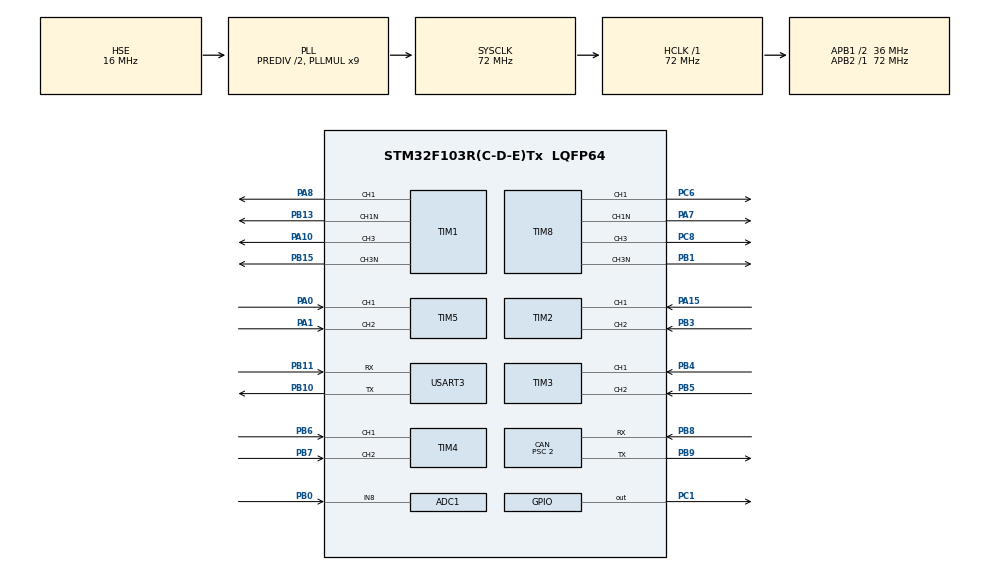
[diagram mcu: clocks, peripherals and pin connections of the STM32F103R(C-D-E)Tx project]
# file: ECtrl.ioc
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ADC1.Channel-0\#ChannelRegularConversion=ADC_CHANNEL_8
ADC1.NbrOfConversionFlag=1
ADC1.Rank-0\#ChannelRegularConversion=1
ADC1.SamplingTime-0\#ChannelRegularConversion=ADC_SAMPLETIME_1CYCLE_5
ADC1.master=1
CAN.BS1=CAN_BS1_15TQ
CAN.BS2=CAN_BS2_2TQ
CAN.CalculateBaudRate=1000000
CAN.CalculateTimeBit=1000
CAN.CalculateTimeQuantum=55.55555555555556
CAN.Prescaler=2
Mcu.Family=STM32F1
Mcu.Name=STM32F103R(C-D-E)Tx
Mcu.Package=LQFP64
NVIC.PriorityGroup=NVIC_PRIORITYGROUP_4
NVIC.TIM6_IRQn=true\:15\:0\:false\:false\:true\:false\:true\:true
NVIC.TimeBase=TIM6_IRQn
NVIC.TimeBaseIP=TIM6
NVIC.USB_LP_CAN1_RX0_IRQn=true\:0\:0\:false\:false\:true\:true\:true\:true
PA0-WKUP.Signal=S_TIM5_CH1
PA1.Signal=S_TIM5_CH2
PA10.Signal=S_TIM1_CH3
PA13.Mode=Serial_Wire
PA13.Signal=SYS_JTMS-SWDIO
PA14.Mode=Serial_Wire
PA14.Signal=SYS_JTCK-SWCLK
PA15.Signal=S_TIM2_CH1_ETR
PA7.Mode=PWM Generation1 CH1 CH1N
PA7.Signal=TIM8_CH1N
PA8.Signal=S_TIM1_CH1
PB0.Signal=ADCx_IN8
PB1.Mode=PWM Generation3 CH3 CH3N
PB1.Signal=TIM8_CH3N
PB10.Mode=Asynchronous
PB10.Signal=USART3_TX
PB11.Mode=Asynchronous
PB11.Signal=USART3_RX
PB13.Mode=PWM Generation1 CH1 CH1N
PB13.Signal=TIM1_CH1N
PB15.Mode=PWM Generation3 CH3 CH3N
PB15.Signal=TIM1_CH3N
PB3.Signal=S_TIM2_CH2
PB4.Signal=S_TIM3_CH1
PB5.Signal=S_TIM3_CH2
PB6.Signal=S_TIM4_CH1
PB7.Signal=S_TIM4_CH2
PB8.Mode=CAN_Activate
PB8.Signal=CAN_RX
PB9.Mode=CAN_Activate
PB9.Signal=CAN_TX
PC1.GPIO_ModeDefaultOutputPP=GPIO_MODE_OUTPUT_OD
PC1.GPIO_PuPd=GPIO_NOPULL
PC1.Signal=GPIO_Output
PC6.Signal=S_TIM8_CH1
PC8.Signal=S_TIM8_CH3
PD0-OSC_IN.Mode=HSE-External-Oscillator
PD0-OSC_IN.Signal=RCC_OSC_IN
PD1-OSC_OUT.Mode=HSE-External-Oscillator
PD1-OSC_OUT.Signal=RCC_OSC_OUT
ProjectManager.HeapSize=0x200
ProjectManager.StackSize=0x400
ProjectManager.TargetToolchain=CMake
RCC.ADCPresc=RCC_ADCPCLK2_DIV6
RCC.AHBFreq_Value=72000000
RCC.APB1CLKDivider=RCC_HCLK_DIV2
RCC.APB1Freq_Value=36000000
RCC.APB1TimFreq_Value=72000000
RCC.APB2Freq_Value=72000000
RCC.APB2TimFreq_Value=72000000
RCC.HCLKFreq_Value=72000000
RCC.HSEDivPLL=RCC_HSE_PREDIV_DIV2
RCC.HSE_VALUE=16000000
RCC.PLLMUL=RCC_PLL_MUL9
RCC.PLLSourceVirtual=RCC_PLLSOURCE_HSE
RCC.SYSCLKFreq_VALUE=72000000
RCC.SYSCLKSource=RCC_SYSCLKSOURCE_PLLCLK
RCC.USBFreq_Value=72000000
SH.ADCx_IN8.0=ADC1_IN8,IN8
SH.S_TIM1_CH1.0=TIM1_CH1,PWM Generation1 CH1 CH1N
SH.S_TIM1_CH3.0=TIM1_CH3,PWM Generation3 CH3 CH3N
SH.S_TIM2_CH1_ETR.0=TIM2_CH1,Encoder_Interface
SH.S_TIM2_CH2.0=TIM2_CH2,Encoder_Interface
SH.S_TIM3_CH1.0=TIM3_CH1,Encoder_Interface
SH.S_TIM3_CH2.0=TIM3_CH2,Encoder_Interface
SH.S_TIM4_CH1.0=TIM4_CH1,Encoder_Interface
SH.S_TIM4_CH2.0=TIM4_CH2,Encoder_Interface
SH.S_TIM5_CH1.0=TIM5_CH1,Encoder_Interface
SH.S_TIM5_CH2.0=TIM5_CH2,Encoder_Interface
SH.S_TIM8_CH1.0=TIM8_CH1,PWM Generation1 CH1 CH1N
SH.S_TIM8_CH3.0=TIM8_CH3,PWM Generation3 CH3 CH3N
TIM1.Channel-PWM\ Generation1\ CH1\ CH1N=TIM_CHANNEL_1
TIM1.Channel-PWM\ Generation3\ CH3\ CH3N=TIM_CHANNEL_3
TIM8.Channel-PWM\ Generation1\ CH1\ CH1N=TIM_CHANNEL_1
TIM8.Channel-PWM\ Generation3\ CH3\ CH3N=TIM_CHANNEL_3
USART3.VirtualMode=VM_ASYNC
VP_CRC_VS_CRC.Mode=CRC_Activate
VP_SYS_VS_tim6.Mode=TIM6
board=custom

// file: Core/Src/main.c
/* USER CODE BEGIN Header */
/**
 ******************************************************************************
 * @file           : main.c
 * @brief          : Main program body
 ******************************************************************************
 * @attention
 *
 * Copyright (c) 2024 STMicroelectronics.
 * All rights reserved.
 *
 * This software is licensed under terms that can be found in the LICENSE file
 * in the root directory of this software component.
 * If no LICENSE file comes with this software, it is provided AS-IS.
 *
 ******************************************************************************
 */
/* USER CODE END Header */
#include "main.h"

/* USER CODE BEGIN Includes */
#include "FreeRTOS.h"
#include "stdio.h"
#include "string.h"
#include "queue.h"
#include "task.h"
#include "TaskCanManage.h"
#include "TaskStateManage.h"
#include "TaskActuator.h"
#include "TaskADCManage.h"
/* USER CODE END Includes */

ADC_HandleTypeDef hadc1;

CAN_HandleTypeDef hcan;

CRC_HandleTypeDef hcrc;

TIM_HandleTypeDef htim1;
TIM_HandleTypeDef htim2;
TIM_HandleTypeDef htim3;
TIM_HandleTypeDef htim4;
TIM_HandleTypeDef htim5;
TIM_HandleTypeDef htim8;

UART_HandleTypeDef huart3;

TaskHandle_t vMotorControlFunctionHandle;
TaskHandle_t vCanManageTaskFunctionHandle;
TaskHandle_t vStoreManageFunctionHandle;
TaskHandle_t vADCManageFunctionHandle;

void SystemClock_Config(void);
static void MX_GPIO_Init(void);
static void MX_ADC1_Init(void);
static void MX_CAN_Init(void);
static void MX_TIM1_Init(void);
static void MX_TIM2_Init(void);
static void MX_TIM3_Init(void);
static void MX_TIM4_Init(void);
static void MX_TIM5_Init(void);
static void MX_TIM8_Init(void);
static void MX_USART3_UART_Init(void);
static void MX_CRC_Init(void);

/* USER CODE BEGIN 0 */
void vApplicationStackOverflowHook(TaskHandle_t xTask,
								   char *pcTaskName)
{
  (void) xTask;
	__disable_irq();
	HAL_UART_Transmit(&huart3, (uint8_t *)"[Error] Stack Overflow\r\nIn Task ", 33, 1000);
	HAL_UART_Transmit(&huart3, (uint8_t *)pcTaskName, strlen(pcTaskName), 1000);
	while (1)
	{
	}
}

void vApplicationMallocFailedHook()
{
	__disable_irq();
	HAL_UART_Transmit(&huart3, (uint8_t *)"[Error] malloc() failed\r\n", 26, 1000);
	while (1)
	{
	}
}

struct OutputBuffer_t {
  uint16_t head, tail;
  uint8_t data[256];
  uint8_t isTransmitting;
};

struct OutputBuffer_t outputBuffer;

int __io_putchar(int ch)
{
  uint16_t nextTail = (outputBuffer.tail + 1) % 256;
  if (nextTail == outputBuffer.head) {
    // queue is full, throw away ch
    return -1;
  }
  else {
    outputBuffer.data[outputBuffer.tail] = ch;
    outputBuffer.tail = nextTail;
    if (!outputBuffer.isTransmitting) {
      // not transmitting, initiating transfer
      outputBuffer.isTransmitting = 1;
      HAL_UART_Transmit_IT(&huart3, outputBuffer.data+outputBuffer.head, 1);
    }
  }
  return 0;
}

void HAL_UART_TxCpltCallback(UART_HandleTypeDef *huart) {
  if (huart->Instance == USART3) {
    outputBuffer.head = (outputBuffer.head + 1) % 256;
    if (outputBuffer.tail == outputBuffer.head) {
      // queue is empty, stop transmitting
      outputBuffer.isTransmitting = 0;
    }
    else {
      HAL_UART_Transmit_IT(&huart3, outputBuffer.data + outputBuffer.head, 1);

    }
  }
}

/* USER CODE END 0 */

int main(void)
{

  /* MCU Configuration--------------------------------------------------------*/

  /* Reset of all peripherals, Initializes the Flash interface and the Systick. */
  HAL_Init();

  /* Configure the system clock */
  SystemClock_Config();

  /* Initialize all configured peripherals */
  MX_GPIO_Init();
  MX_ADC1_Init();
  MX_CAN_Init();
  MX_TIM1_Init();
  MX_TIM2_Init();
  MX_TIM3_Init();
  MX_TIM4_Init();
  MX_TIM5_Init();
  MX_TIM8_Init();
  MX_USART3_UART_Init();
  MX_CRC_Init();
  /* USER CODE BEGIN 2 */
  printf("SysInit...\r\n");
  xTaskCreate(vCanManageTaskFunction, "CanManageTask", 2048, NULL, 2, &vCanManageTaskFunctionHandle);
  xTaskCreate(vStoreManageFunction, "StoreManageTask", 2048, NULL, 2, &vStoreManageFunctionHandle);
  xTaskCreate(vMotorControlFunction, "MotorControlTask", 2048, NULL, 1, &vMotorControlFunctionHandle);
  xTaskCreate(vADCManageFunction, "ADCManageTask", 2048, NULL, 1, &vADCManageFunctionHandle);
	vTaskStartScheduler();
  /* USER CODE END 2 */

  /* Infinite loop */
	while (1)
	{

	}
}

void SystemClock_Config(void)
{
  RCC_OscInitTypeDef RCC_OscInitStruct = {0};
  RCC_ClkInitTypeDef RCC_ClkInitStruct = {0};
  RCC_PeriphCLKInitTypeDef PeriphClkInit = {0};

  /** Initializes the RCC Oscillators according to the specified parameters
  * in the RCC_OscInitTypeDef structure.
  */
  RCC_OscInitStruct.OscillatorType = RCC_OSCILLATORTYPE_HSE;
  RCC_OscInitStruct.HSEState = RCC_HSE_ON;
  RCC_OscInitStruct.HSEPredivValue = RCC_HSE_PREDIV_DIV2;
  RCC_OscInitStruct.HSIState = RCC_HSI_ON;
  RCC_OscInitStruct.PLL.PLLState = RCC_PLL_ON;
  RCC_OscInitStruct.PLL.PLLSource = RCC_PLLSOURCE_HSE;
  RCC_OscInitStruct.PLL.PLLMUL = RCC_PLL_MUL9;
  if (HAL_RCC_OscConfig(&RCC_OscInitStruct) != HAL_OK)
  {
    Error_Handler();
  }

  /** Initializes the CPU, AHB and APB buses clocks
  */
  RCC_ClkInitStruct.ClockType = RCC_CLOCKTYPE_HCLK|RCC_CLOCKTYPE_SYSCLK
                              |RCC_CLOCKTYPE_PCLK1|RCC_CLOCKTYPE_PCLK2;
  RCC_ClkInitStruct.SYSCLKSource = RCC_SYSCLKSOURCE_PLLCLK;
  RCC_ClkInitStruct.AHBCLKDivider = RCC_SYSCLK_DIV1;
  RCC_ClkInitStruct.APB1CLKDivider = RCC_HCLK_DIV2;
  RCC_ClkInitStruct.APB2CLKDivider = RCC_HCLK_DIV1;

  if (HAL_RCC_ClockConfig(&RCC_ClkInitStruct, FLASH_LATENCY_2) != HAL_OK)
  {
    Error_Handler();
  }
  PeriphClkInit.PeriphClockSelection = RCC_PERIPHCLK_ADC;
  PeriphClkInit.AdcClockSelection = RCC_ADCPCLK2_DIV6;
  if (HAL_RCCEx_PeriphCLKConfig(&PeriphClkInit) != HAL_OK)
  {
    Error_Handler();
  }
}

static void MX_ADC1_Init(void)
{

  ADC_ChannelConfTypeDef sConfig = {0};

  /** Common config
  */
  hadc1.Instance = ADC1;
  hadc1.Init.ScanConvMode = ADC_SCAN_DISABLE;
  hadc1.Init.ContinuousConvMode = DISABLE;
  hadc1.Init.DiscontinuousConvMode = DISABLE;
  hadc1.Init.ExternalTrigConv = ADC_SOFTWARE_START;
  hadc1.Init.DataAlign = ADC_DATAALIGN_RIGHT;
  hadc1.Init.NbrOfConversion = 1;
  if (HAL_ADC_Init(&hadc1) != HAL_OK)
  {
    Error_Handler();
  }

  /** Configure Regular Channel
  */
  sConfig.Channel = ADC_CHANNEL_8;
  sConfig.Rank = ADC_REGULAR_RANK_1;
  sConfig.SamplingTime = ADC_SAMPLETIME_1CYCLE_5;
  if (HAL_ADC_ConfigChannel(&hadc1, &sConfig) != HAL_OK)
  {
    Error_Handler();
  }

}

static void MX_CAN_Init(void)
{

  hcan.Instance = CAN1;
  hcan.Init.Prescaler = 2;
  hcan.Init.Mode = CAN_MODE_NORMAL;
  hcan.Init.SyncJumpWidth = CAN_SJW_1TQ;
  hcan.Init.TimeSeg1 = CAN_BS1_15TQ;
  hcan.Init.TimeSeg2 = CAN_BS2_2TQ;
  hcan.Init.TimeTriggeredMode = DISABLE;
  hcan.Init.AutoBusOff = DISABLE;
  hcan.Init.AutoWakeUp = DISABLE;
  hcan.Init.AutoRetransmission = ENABLE;
  hcan.Init.ReceiveFifoLocked = DISABLE;
  hcan.Init.TransmitFifoPriority = DISABLE;
  if (HAL_CAN_Init(&hcan) != HAL_OK)
  {
    Error_Handler();
  }

}

static void MX_CRC_Init(void)
{

  hcrc.Instance = CRC;
  if (HAL_CRC_Init(&hcrc) != HAL_OK)
  {
    Error_Handler();
  }

}

static void MX_TIM1_Init(void)
{

  TIM_MasterConfigTypeDef sMasterConfig = {0};
  TIM_OC_InitTypeDef sConfigOC = {0};
  TIM_BreakDeadTimeConfigTypeDef sBreakDeadTimeConfig = {0};

  htim1.Instance = TIM1;
  htim1.Init.Prescaler = 0;
  htim1.Init.CounterMode = TIM_COUNTERMODE_UP;
  htim1.Init.Period = 65535;
  htim1.Init.ClockDivision = TIM_CLOCKDIVISION_DIV1;
  htim1.Init.RepetitionCounter = 0;
  htim1.Init.AutoReloadPreload = TIM_AUTORELOAD_PRELOAD_DISABLE;
  if (HAL_TIM_PWM_Init(&htim1) != HAL_OK)
  {
    Error_Handler();
  }
  sMasterConfig.MasterOutputTrigger = TIM_TRGO_RESET;
  sMasterConfig.MasterSlaveMode = TIM_MASTERSLAVEMODE_DISABLE;
  if (HAL_TIMEx_MasterConfigSynchronization(&htim1, &sMasterConfig) != HAL_OK)
  {
    Error_Handler();
  }
  sConfigOC.OCMode = TIM_OCMODE_PWM1;
  sConfigOC.Pulse = 0;
  sConfigOC.OCPolarity = TIM_OCPOLARITY_HIGH;
  sConfigOC.OCNPolarity = TIM_OCNPOLARITY_HIGH;
  sConfigOC.OCFastMode = TIM_OCFAST_DISABLE;
  sConfigOC.OCIdleState = TIM_OCIDLESTATE_RESET;
  sConfigOC.OCNIdleState = TIM_OCNIDLESTATE_RESET;
  if (HAL_TIM_PWM_ConfigChannel(&htim1, &sConfigOC, TIM_CHANNEL_1) != HAL_OK)
  {
    Error_Handler();
  }
  if (HAL_TIM_PWM_ConfigChannel(&htim1, &sConfigOC, TIM_CHANNEL_3) != HAL_OK)
  {
    Error_Handler();
  }
  sBreakDeadTimeConfig.OffStateRunMode = TIM_OSSR_DISABLE;
  sBreakDeadTimeConfig.OffStateIDLEMode = TIM_OSSI_DISABLE;
  sBreakDeadTimeConfig.LockLevel = TIM_LOCKLEVEL_OFF;
  sBreakDeadTimeConfig.DeadTime = 0;
  sBreakDeadTimeConfig.BreakState = TIM_BREAK_DISABLE;
  sBreakDeadTimeConfig.BreakPolarity = TIM_BREAKPOLARITY_HIGH;
  sBreakDeadTimeConfig.AutomaticOutput = TIM_AUTOMATICOUTPUT_DISABLE;
  if (HAL_TIMEx_ConfigBreakDeadTime(&htim1, &sBreakDeadTimeConfig) != HAL_OK)
  {
    Error_Handler();
  }
  HAL_TIM_MspPostInit(&htim1);

}

static void MX_TIM2_Init(void)
{

  TIM_Encoder_InitTypeDef sConfig = {0};
  TIM_MasterConfigTypeDef sMasterConfig = {0};

  htim2.Instance = TIM2;
  htim2.Init.Prescaler = 0;
  htim2.Init.CounterMode = TIM_COUNTERMODE_UP;
  htim2.Init.Period = 65535;
  htim2.Init.ClockDivision = TIM_CLOCKDIVISION_DIV1;
  htim2.Init.AutoReloadPreload = TIM_AUTORELOAD_PRELOAD_DISABLE;
  sConfig.EncoderMode = TIM_ENCODERMODE_TI1;
  sConfig.IC1Polarity = TIM_ICPOLARITY_RISING;
  sConfig.IC1Selection = TIM_ICSELECTION_DIRECTTI;
  sConfig.IC1Prescaler = TIM_ICPSC_DIV1;
  sConfig.IC1Filter = 0;
  sConfig.IC2Polarity = TIM_ICPOLARITY_RISING;
  sConfig.IC2Selection = TIM_ICSELECTION_DIRECTTI;
  sConfig.IC2Prescaler = TIM_ICPSC_DIV1;
  sConfig.IC2Filter = 0;
  if (HAL_TIM_Encoder_Init(&htim2, &sConfig) != HAL_OK)
  {
    Error_Handler();
  }
  sMasterConfig.MasterOutputTrigger = TIM_TRGO_RESET;
  sMasterConfig.MasterSlaveMode = TIM_MASTERSLAVEMODE_DISABLE;
  if (HAL_TIMEx_MasterConfigSynchronization(&htim2, &sMasterConfig) != HAL_OK)
  {
    Error_Handler();
  }

}

static void MX_TIM3_Init(void)
{

  TIM_Encoder_InitTypeDef sConfig = {0};
  TIM_MasterConfigTypeDef sMasterConfig = {0};

  htim3.Instance = TIM3;
  htim3.Init.Prescaler = 0;
  htim3.Init.CounterMode = TIM_COUNTERMODE_UP;
  htim3.Init.Period = 65535;
  htim3.Init.ClockDivision = TIM_CLOCKDIVISION_DIV1;
  htim3.Init.AutoReloadPreload = TIM_AUTORELOAD_PRELOAD_DISABLE;
  sConfig.EncoderMode = TIM_ENCODERMODE_TI1;
  sConfig.IC1Polarity = TIM_ICPOLARITY_RISING;
  sConfig.IC1Selection = TIM_ICSELECTION_DIRECTTI;
  sConfig.IC1Prescaler = TIM_ICPSC_DIV1;
  sConfig.IC1Filter = 0;
  sConfig.IC2Polarity = TIM_ICPOLARITY_RISING;
  sConfig.IC2Selection = TIM_ICSELECTION_DIRECTTI;
  sConfig.IC2Prescaler = TIM_ICPSC_DIV1;
  sConfig.IC2Filter = 0;
  if (HAL_TIM_Encoder_Init(&htim3, &sConfig) != HAL_OK)
  {
    Error_Handler();
  }
  sMasterConfig.MasterOutputTrigger = TIM_TRGO_RESET;
  sMasterConfig.MasterSlaveMode = TIM_MASTERSLAVEMODE_DISABLE;
  if (HAL_TIMEx_MasterConfigSynchronization(&htim3, &sMasterConfig) != HAL_OK)
  {
    Error_Handler();
  }

}

static void MX_TIM4_Init(void)
{

  TIM_Encoder_InitTypeDef sConfig = {0};
  TIM_MasterConfigTypeDef sMasterConfig = {0};

  htim4.Instance = TIM4;
  htim4.Init.Prescaler = 0;
  htim4.Init.CounterMode = TIM_COUNTERMODE_UP;
  htim4.Init.Period = 65535;
  htim4.Init.ClockDivision = TIM_CLOCKDIVISION_DIV1;
  htim4.Init.AutoReloadPreload = TIM_AUTORELOAD_PRELOAD_DISABLE;
  sConfig.EncoderMode = TIM_ENCODERMODE_TI1;
  sConfig.IC1Polarity = TIM_ICPOLARITY_RISING;
  sConfig.IC1Selection = TIM_ICSELECTION_DIRECTTI;
  sConfig.IC1Prescaler = TIM_ICPSC_DIV1;
  sConfig.IC1Filter = 0;
  sConfig.IC2Polarity = TIM_ICPOLARITY_RISING;
  sConfig.IC2Selection = TIM_ICSELECTION_DIRECTTI;
  sConfig.IC2Prescaler = TIM_ICPSC_DIV1;
  sConfig.IC2Filter = 0;
  if (HAL_TIM_Encoder_Init(&htim4, &sConfig) != HAL_OK)
  {
    Error_Handler();
  }
  sMasterConfig.MasterOutputTrigger = TIM_TRGO_RESET;
  sMasterConfig.MasterSlaveMode = TIM_MASTERSLAVEMODE_DISABLE;
  if (HAL_TIMEx_MasterConfigSynchronization(&htim4, &sMasterConfig) != HAL_OK)
  {
    Error_Handler();
  }

}

static void MX_TIM5_Init(void)
{

  TIM_Encoder_InitTypeDef sConfig = {0};
  TIM_MasterConfigTypeDef sMasterConfig = {0};

  htim5.Instance = TIM5;
  htim5.Init.Prescaler = 0;
  htim5.Init.CounterMode = TIM_COUNTERMODE_UP;
  htim5.Init.Period = 65535;
  htim5.Init.ClockDivision = TIM_CLOCKDIVISION_DIV1;
  htim5.Init.AutoReloadPreload = TIM_AUTORELOAD_PRELOAD_DISABLE;
  sConfig.EncoderMode = TIM_ENCODERMODE_TI1;
  sConfig.IC1Polarity = TIM_ICPOLARITY_RISING;
  sConfig.IC1Selection = TIM_ICSELECTION_DIRECTTI;
  sConfig.IC1Prescaler = TIM_ICPSC_DIV1;
  sConfig.IC1Filter = 0;
  sConfig.IC2Polarity = TIM_ICPOLARITY_RISING;
  sConfig.IC2Selection = TIM_ICSELECTION_DIRECTTI;
  sConfig.IC2Prescaler = TIM_ICPSC_DIV1;
  sConfig.IC2Filter = 0;
  if (HAL_TIM_Encoder_Init(&htim5, &sConfig) != HAL_OK)
  {
    Error_Handler();
  }
  sMasterConfig.MasterOutputTrigger = TIM_TRGO_RESET;
  sMasterConfig.MasterSlaveMode = TIM_MASTERSLAVEMODE_DISABLE;
  if (HAL_TIMEx_MasterConfigSynchronization(&htim5, &sMasterConfig) != HAL_OK)
  {
    Error_Handler();
  }

}

static void MX_TIM8_Init(void)
{

  TIM_MasterConfigTypeDef sMasterConfig = {0};
  TIM_OC_InitTypeDef sConfigOC = {0};
  TIM_BreakDeadTimeConfigTypeDef sBreakDeadTimeConfig = {0};

  htim8.Instance = TIM8;
  htim8.Init.Prescaler = 0;
  htim8.Init.CounterMode = TIM_COUNTERMODE_UP;
  htim8.Init.Period = 65535;
  htim8.Init.ClockDivision = TIM_CLOCKDIVISION_DIV1;
  htim8.Init.RepetitionCounter = 0;
  htim8.Init.AutoReloadPreload = TIM_AUTORELOAD_PRELOAD_DISABLE;
  if (HAL_TIM_PWM_Init(&htim8) != HAL_OK)
  {
    Error_Handler();
  }
  sMasterConfig.MasterOutputTrigger = TIM_TRGO_RESET;
  sMasterConfig.MasterSlaveMode = TIM_MASTERSLAVEMODE_DISABLE;
  if (HAL_TIMEx_MasterConfigSynchronization(&htim8, &sMasterConfig) != HAL_OK)
  {
    Error_Handler();
  }
  sConfigOC.OCMode = TIM_OCMODE_PWM1;
  sConfigOC.Pulse = 0;
  sConfigOC.OCPolarity = TIM_OCPOLARITY_HIGH;
  sConfigOC.OCNPolarity = TIM_OCNPOLARITY_HIGH;
  sConfigOC.OCFastMode = TIM_OCFAST_DISABLE;
  sConfigOC.OCIdleState = TIM_OCIDLESTATE_RESET;
  sConfigOC.OCNIdleState = TIM_OCNIDLESTATE_RESET;
  if (HAL_TIM_PWM_ConfigChannel(&htim8, &sConfigOC, TIM_CHANNEL_1) != HAL_OK)
  {
    Error_Handler();
  }
  if (HAL_TIM_PWM_ConfigChannel(&htim8, &sConfigOC, TIM_CHANNEL_3) != HAL_OK)
  {
    Error_Handler();
  }
  sBreakDeadTimeConfig.OffStateRunMode = TIM_OSSR_DISABLE;
  sBreakDeadTimeConfig.OffStateIDLEMode = TIM_OSSI_DISABLE;
  sBreakDeadTimeConfig.LockLevel = TIM_LOCKLEVEL_OFF;
  sBreakDeadTimeConfig.DeadTime = 0;
  sBreakDeadTimeConfig.BreakState = TIM_BREAK_DISABLE;
  sBreakDeadTimeConfig.BreakPolarity = TIM_BREAKPOLARITY_HIGH;
  sBreakDeadTimeConfig.AutomaticOutput = TIM_AUTOMATICOUTPUT_DISABLE;
  if (HAL_TIMEx_ConfigBreakDeadTime(&htim8, &sBreakDeadTimeConfig) != HAL_OK)
  {
    Error_Handler();
  }
  HAL_TIM_MspPostInit(&htim8);

}

static void MX_USART3_UART_Init(void)
{

  huart3.Instance = USART3;
  huart3.Init.BaudRate = 115200;
  huart3.Init.WordLength = UART_WORDLENGTH_8B;
  huart3.Init.StopBits = UART_STOPBITS_1;
  huart3.Init.Parity = UART_PARITY_NONE;
  huart3.Init.Mode = UART_MODE_TX_RX;
  huart3.Init.HwFlowCtl = UART_HWCONTROL_NONE;
  huart3.Init.OverSampling = UART_OVERSAMPLING_16;
  if (HAL_UART_Init(&huart3) != HAL_OK)
  {
    Error_Handler();
  }
  /* USER CODE BEGIN USART3_Init 2 */
  // enable interrupt
  HAL_NVIC_SetPriority(USART3_IRQn, 0, 0);
  HAL_NVIC_EnableIRQ(USART3_IRQn);
  /* USER CODE END USART3_Init 2 */

}

static void MX_GPIO_Init(void)
{
  GPIO_InitTypeDef GPIO_InitStruct = {0};

  /* GPIO Ports Clock Enable */
  __HAL_RCC_GPIOD_CLK_ENABLE();
  __HAL_RCC_GPIOC_CLK_ENABLE();
  __HAL_RCC_GPIOA_CLK_ENABLE();
  __HAL_RCC_GPIOB_CLK_ENABLE();

  /*Configure GPIO pin Output Level */
  HAL_GPIO_WritePin(GPIOC, GPIO_PIN_1, GPIO_PIN_RESET);

  /*Configure GPIO pin : PC1 */
  GPIO_InitStruct.Pin = GPIO_PIN_1;
  GPIO_InitStruct.Mode = GPIO_MODE_OUTPUT_OD;
  GPIO_InitStruct.Pull = GPIO_NOPULL;
  GPIO_InitStruct.Speed = GPIO_SPEED_FREQ_LOW;
  HAL_GPIO_Init(GPIOC, &GPIO_InitStruct);

}

void HAL_TIM_PeriodElapsedCallback(TIM_HandleTypeDef *htim)
{
  if (htim->Instance == TIM6) {
    HAL_IncTick();
  }
}

void Error_Handler(void)
{
	__disable_irq();
	while (1)
	{
	}
}
